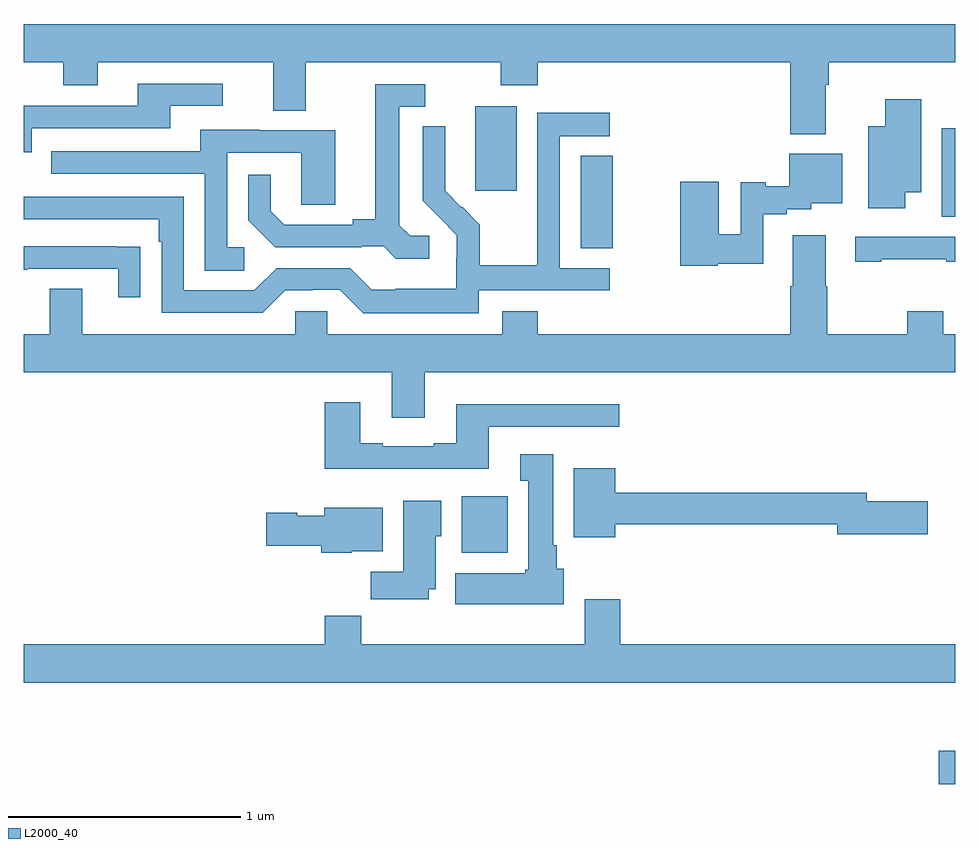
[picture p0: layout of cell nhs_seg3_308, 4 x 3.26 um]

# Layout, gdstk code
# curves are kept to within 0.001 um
import gdstk
lib = gdstk.Library(unit=1e-6, precision=1e-09)
def R(c, l, rs):  # rectangles x0, y0, x1, y1
    for r in rs: c.add(gdstk.rectangle(r[:2], r[2:], *l))
def P(c, l, *ps):  # polygons
    for p in ps: c.add(gdstk.Polygon(p, *l))
L2000_40 = (2000, 40)

nhs_seg3_308 = lib.new_cell('nhs_seg3_308')
R(nhs_seg3_308, L2000_40, [(128.928,728.453,129,728.595), (126.881,729.446,127.078,729.688), (127.391,730.753,127.53,731.15), (128.942,730.888,129,731.269), (126.938,731.001,127.117,731.362)])
P(nhs_seg3_308, L2000_40, [(128.443,731.456),(128.456,731.456),(128.456,731.552),(129,731.552),(129,731.716),(125,731.716),(125,731.552),(125.17,731.552),(125.17,731.453),(125.317,731.453),(125.317,731.552),(126.071,731.552),(126.071,731.344),(126.211,731.344),(126.211,731.552),(127.048,731.552),(127.048,731.453),(127.208,731.453),(127.208,731.552),(128.291,731.552),(128.291,731.243),(128.443,731.243)],
  [(125.034,731.268),(125.629,731.268),(125.629,731.364),(125.854,731.364),(125.854,731.46),(125.489,731.46),(125.489,731.364),(125,731.364),(125,731.165),(125.034,731.165)],
  [(126.742,730.806),(126.66,730.806),(126.613,730.853),(126.613,731.361),(126.724,731.361),(126.724,731.457),(126.509,731.457),(126.509,730.877),(126.413,730.877),(126.413,730.854),(126.118,730.854),(126.061,730.911),(126.061,731.068),(125.964,731.068),(125.964,730.874),(126.08,730.758),(126.452,730.758),(126.452,730.761),(126.546,730.761),(126.598,730.709),(126.742,730.709)],
  [(128.785,730.994),(128.854,730.994),(128.854,731.392),(128.699,731.392),(128.699,731.278),(128.627,731.278),(128.627,730.926),(128.785,730.926)],
  [(126.954,730.572),(127.516,730.572),(127.516,730.668),(127.302,730.668),(127.302,731.235),(127.516,731.235),(127.516,731.334),(127.206,731.334),(127.206,730.904),(127.204,730.904),(127.204,730.681),(126.959,730.681),(126.959,730.855),(126.882,730.932),(126.879,730.929),(126.809,731),(126.81,731.276),(126.714,731.276),(126.714,730.958),(126.86,730.81),(126.86,730.713),(126.858,730.713),(126.858,730.579),(126.595,730.579),(126.595,730.575),(126.495,730.575),(126.402,730.668),(126.087,730.668),(125.991,730.572),(125.688,730.572),(125.688,730.974),(125,730.974),(125,730.878),(125.579,730.878),(125.579,730.781),(125.592,730.781),(125.592,730.476),(126.027,730.476),(126.123,730.572),(126.242,730.572),(126.242,730.575),(126.357,730.575),(126.457,730.475),(126.954,730.475)],
  [(125.947,730.758),(125.874,730.758),(125.874,731.163),(126.192,731.163),(126.192,730.939),(126.337,730.939),(126.337,731.259),(126.013,731.259),(126.013,731.263),(125.759,731.263),(125.759,731.169),(125.119,731.169),(125.119,731.073),(125.778,731.073),(125.778,730.657),(125.947,730.657)],
  [(127.98,730.686),(128.175,730.686),(128.175,730.9),(128.277,730.9),(128.277,730.92),(128.382,730.92),(128.382,730.946),(128.515,730.946),(128.515,731.158),(128.288,731.158),(128.288,731.019),(128.187,731.019),(128.187,731.036),(128.079,731.036),(128.079,730.814),(127.984,730.814),(127.984,731.038),(127.819,731.038),(127.819,730.678),(127.98,730.678)],
  [(126.721,730.22),(129,730.22),(129,730.384),(128.949,730.384),(128.949,730.483),(128.794,730.483),(128.794,730.384),(128.451,730.384),(128.451,730.589),(128.443,730.589),(128.443,730.81),(128.303,730.81),(128.303,730.589),(128.291,730.589),(128.291,730.384),(127.208,730.384),(127.208,730.483),(127.055,730.483),(127.055,730.384),(126.303,730.384),(126.303,730.482),(126.165,730.482),(126.165,730.384),(125.251,730.384),(125.251,730.579),(125.111,730.579),(125.111,730.384),(125,730.384),(125,730.22),(126.581,730.22),(126.581,730.026),(126.721,730.026)],
  [(128.683,730.705),(128.962,730.705),(128.962,730.695),(129,730.695),(129,730.803),(128.571,730.803),(128.571,730.695),(128.683,730.695)],
  [(125.501,730.76),(125.399,730.76),(125.399,730.761),(125,730.761),(125,730.66),(125.015,730.66),(125.015,730.665),(125.405,730.665),(125.405,730.542),(125.501,730.542)],
  [(126.997,729.987),(127.558,729.987),(127.558,730.084),(126.857,730.084),(126.857,729.916),(126.761,729.916),(126.761,729.903),(126.541,729.903),(126.541,729.916),(126.445,729.916),(126.445,730.093),(126.293,730.093),(126.293,729.806),(126.997,729.806)],
  [(127.318,729.378),(127.288,729.378),(127.288,729.478),(127.273,729.478),(127.273,729.868),(127.133,729.868),(127.133,729.755),(127.166,729.755),(127.166,729.372),(127.153,729.372),(127.153,729.358),(126.854,729.358),(126.854,729.224),(127.318,729.224)],
  [(127.54,729.568),(128.492,729.568),(128.492,729.526),(128.881,729.526),(128.881,729.668),(128.62,729.668),(128.62,729.704),(127.54,729.704),(127.54,729.808),(127.361,729.808),(127.361,729.512),(127.54,729.512)],
  [(126.739,729.29),(126.769,729.29),(126.769,729.516),(126.793,729.516),(126.793,729.67),(126.629,729.67),(126.629,729.364),(126.49,729.364),(126.49,729.246),(126.739,729.246)],
  [(126.408,729.452),(126.541,729.452),(126.541,729.64),(126.29,729.64),(126.29,729.604),(126.174,729.604),(126.174,729.617),(126.042,729.617),(126.042,729.475),(126.278,729.475),(126.278,729.446),(126.408,729.446)],
  [(129,729.052),(127.562,729.052),(127.562,729.247),(127.409,729.247),(127.409,729.052),(126.449,729.052),(126.449,729.176),(126.293,729.176),(126.293,729.052),(125,729.052),(125,728.888),(129,728.888)])

lib.write_gds('nhs_seg3_308.gds')
